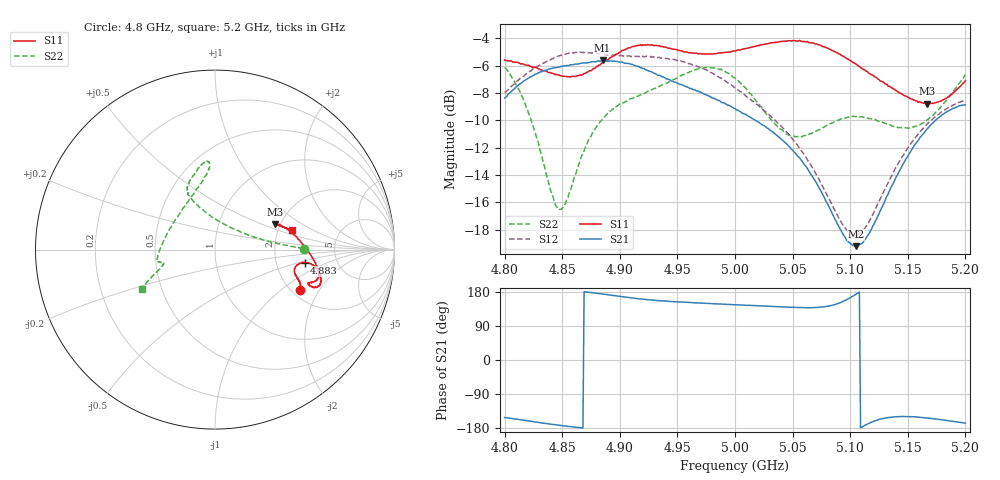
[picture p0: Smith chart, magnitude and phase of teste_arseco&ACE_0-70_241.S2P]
! Network Analyzer HP8722D
! Hewlett-Packard
! Data name: Linha & Wilkinson
! Saver's name: Rodrigo Anjos
! Comments: Teste da utilização de aquisição
! continua pelo VNA HP8722D
! Time and date: 8/5/2025 14:46
!  Frequency  S11  S21  S12  S22
# HZ  S  MA R 50
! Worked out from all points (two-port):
!   401 points, 4.8 GHz to 5.2 GHz, reference 50 ohm
!   highest |S21| = -5.63 dB at 4.885 GHz (marker M1); lowest = -19.2 dB at 5.105 GHz (marker M2)
!   |S21| within 3 dB of the highest: start of sweep to 4.987 GHz
!   lowest |S11| = -8.8 dB at 5.167 GHz (marker M3), VSWR 2.14, Z = 93.6 + j30.9 ohm
!   |S11| at or under -10 dB: nowhere
!   |S22| runs from -16.6 to -6.1 dB; largest |S21 - S12| = 1.1
!   S11 on the Smith chart (normalised r, x): 4.8 GHz: 2.23, -1.38; 4.883 GHz: 2.91, -0.57; 5.2 GHz: 2.36, +0.65
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4.8e9  0.5255 -25.2  0.3815 -152.0  0.399 7.5  0.4934 0.5
4.82e9  0.5013 -20.6  0.4495 -160.3  0.4708 4.5  0.3434 6.0
4.846e9  0.4639 -16.5  0.4948 -171.7  0.5419 0.3  0.1513 54.3
4.853e9  0.4572 -14.8  0.4994 -174.2  0.5516 -0.9  0.158 80.2
4.867e9  0.4625 -10.7  0.5114 -179.2  0.5598 -2.8  0.2352 107.6
4.883e9  0.5044 -8.4  0.5188 174.8  0.5524 -4.1  0.3131 114.9
4.885e9  0.5127 -8.2  0.5231 174.2  0.5517 -4.1  0.32 115.2
4.909e9  0.5825 -11.2  0.5078 164.5  0.5427 -3.3  0.3792 114.4
4.934e9  0.5924 -16.8  0.462 156.5  0.5373 -4.1  0.4198 107.9
4.975e9  0.5518 -19.9  0.3917 149.4  0.4845 -7.5  0.4936 95.6
5e9  0.5666 -20.8  0.3489 145.7  0.4158 -7.2  0.4522 94.6
5.019e9  0.592 -21.1  0.3137 143.2  0.3616 -4.5  0.3698 103.0
5.044e9  0.616 -18.7  0.2609 139.8  0.2886 1.0  0.2826 132.4
5.067e9  0.6053 -14.1  0.1978 138.3  0.2131 8.4  0.2842 165.3
5.094e9  0.5417 -4.2  0.1209 154.9  0.1304 34.5  0.322 -173.2
5.105e9  0.5078 0.9  0.1096 173.4  0.12 55.9  0.3262 -169.8
5.116e9  0.4705 6.6  0.1211 -167.5  0.1338 76.5  0.3206 -167.5
5.134e9  0.421 15.5  0.1744 -151.5  0.1909 94.1  0.3044 -166.5
5.152e9  0.38 21.7  0.2414 -149.5  0.2572 99.0  0.2963 -164.9
5.167e9  0.3637 23.2  0.2946 -153.1  0.3071 99.6  0.3176 -161.6
5.183e9  0.38 20.6  0.3377 -159.2  0.3473 99.5  0.371 -157.4
5.2e9  0.4409 14.5  0.3604 -166.6  0.3752 100.1  0.4628 -152.0
